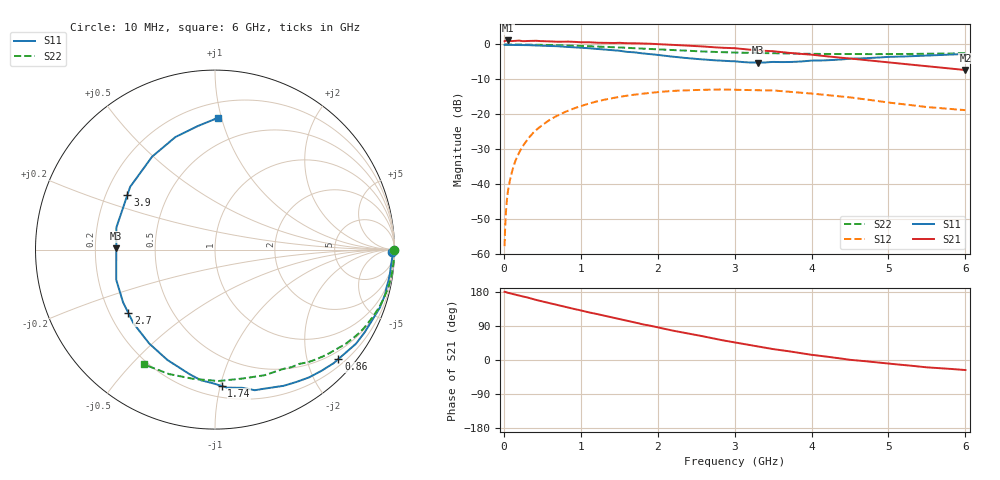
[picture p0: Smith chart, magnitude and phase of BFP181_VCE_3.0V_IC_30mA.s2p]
! Infineon Technologies  Discrete & RF Semiconductors
! BFP181
! VCE = 3.0 V,  IC =  30 mA
! Common Emitter S-Parameters:  Jan 2016
# GHz  S  MA  R  50
!  f  S11  S21  S12  S22
! GHz  MAG  ANG  MAG  ANG  MAG  ANG  MAG  ANG
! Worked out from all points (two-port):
!   210 points, 10 MHz to 6 GHz, reference 50 ohm
!   highest |S21| = 1.15 dB at 50 MHz (marker M1); lowest = -7.3 dB at 6 GHz (marker M2)
!   |S21| within 3 dB of the highest: start of sweep to 3.425 GHz
!   lowest |S11| = -5.2 dB at 3.3 GHz (marker M3), VSWR 3.44, Z = 14.5 + j0.28 ohm
!   |S11| at or under -10 dB: nowhere
!   |S22| runs from -2.8 to 0.0 dB; largest |S21 - S12| = 1.1
!   S11 on the Smith chart (normalised r, x): 10 MHz: open; 860 MHz: 0.33, -2.60; 1.74 GHz: 0.28, -1.01; 2.7 GHz: 0.28, -0.30; 3.9 GHz: 0.29, +0.26; 6 GHz: 0.31, +0.97
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0.01  0.9878 -0.7  1.115 179.8  0.0013 86.3  0.9996 -0.1
0.015  0.9903 -0.9  1.124 179.7  0.0021 87.7  0.9994 -0.2
0.025  0.9923 -1.3  1.135 179.2  0.0037 89.4  0.9993 -0.5
0.05  0.9898 -2.2  1.142 177.5  0.0075 91.5  0.9992 -1.2
0.09  0.9849 -4.4  1.123 175.6  0.0129 86.6  0.9987 -2.2
0.145  0.9843 -7.2  1.129 172.8  0.0208 84.6  0.9978 -3.5
0.3  0.9802 -14.6  1.122 165.4  0.0425 79.5  0.9948 -7.2
0.56  0.9548 -27.1  1.111 151.7  0.0784 69.9  0.9848 -13.4
0.86  0.919 -41.6  1.097 137.3  0.1158 59.1  0.9651 -20.4
1.02  0.8962 -49.4  1.076 129.9  0.1332 53.6  0.952 -23.9
1.5  0.8142 -74.2  1.057 108.1  0.1779 38.3  0.907 -33.9
1.74  0.7608 -87.2  1.038 97.4  0.1939 31.1  0.8794 -38.6
2.02  0.7039 -102.5  1.009 85.1  0.2095 23.0  0.8523 -43.6
2.4  0.6389 -125.0  0.963 69.7  0.222 12.4  0.8143 -50.4
2.7  0.5979 -143.9  0.917 58.0  0.2256 5.1  0.7864 -55.2
3.1  0.5611 -168.7  0.862 43.1  0.2242 -4.7  0.762 -61.8
3.3  0.55 179.3  0.825 36.2  0.2214 -9.0  0.7559 -65.1
3.9  0.5752 148.1  0.728 17.0  0.2025 -20.5  0.7364 -76.1
4.1  0.5898 139.5  0.695 11.3  0.1937 -23.8  0.7321 -80.1
4.5  0.6252 124.1  0.63 0.5  0.175 -29.6  0.7324 -88.5
5.1  0.6686 107.0  0.541 -11.4  0.1436 -32.5  0.7299 -101.6
6  0.7333 88.9  0.431 -26.5  0.1149 -25.6  0.7521 -121.7
